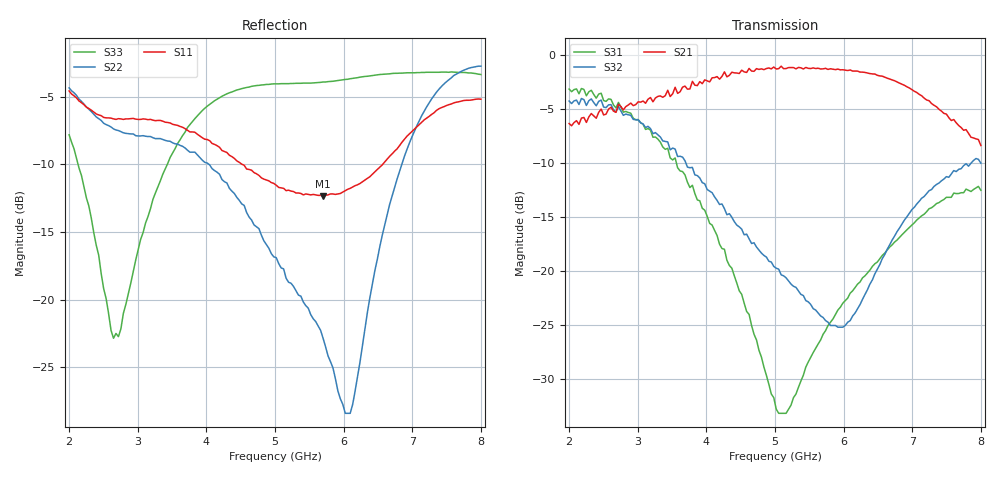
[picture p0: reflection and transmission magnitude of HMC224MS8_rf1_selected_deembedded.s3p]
!Hittite Microwave Corporation
!12 Elizabeth Drive
!Chelmsford, MA 01824
!Tel: 978-250-3343
!Fax: 978-250-3373
!Device: HMC224MS8, 5-6 GHz GaAs MMIC SPDT Switch in 8 lead plastic surface mount Mini Small Outline Package
!Misc: Port 1 = RFC, Port 2 = RF1, Port 3 =RF2, RF1 Selected, Vdd=+5V
# MHZ S MA R 50
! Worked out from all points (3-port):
!   168 points, 2 GHz to 8 GHz, reference 50 ohm
!   strongest paths, dB at 2 GHz, 3.509 GHz, 5.018 GHz, 6.527 GHz, 8 GHz:
!     S21: -6.4, -3.6, -1.3, -2.0, -8.4
!     S32: -4.3, -8.6, -19.7, -19.4, -10.0
!     S31: -3.2, -9.7, -32.8, -18.9, -12.5
!   lowest |S11| = -12.3 dB at 5.701 GHz (marker M1), VSWR 1.64, Z = 40.5 + j20.3 ohm
!   |S11| at or under -10 dB: 4.524 GHz to 6.568 GHz (2.044 GHz wide, 36.9 % of centre)
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2000  0.591 -148.5  0.469 59.1  0.683 20.4
      0.48 61.4  0.607 -129.2  0.601 29.7
      0.693 21.7  0.61 31.1  0.407 -127.6
2646.707  0.466 140.7  0.541 62.3  0.594 -7.3
          0.548 60.1  0.428 164.8  0.563 4.0
          0.585 -8.5  0.556 2.7  0.072 -121.5
3077.844  0.466 106.8  0.614 62.3  0.473 -21.3
          0.61 62.4  0.404 125.9  0.478 -8.9
          0.476 -22.6  0.478 -10.2  0.177 -99.4
3724.551  0.423 82.0  0.71 67.8  0.24 -44.2
          0.692 62.3  0.357 87.6  0.287 -29.5
          0.257 -42.1  0.302 -26.6  0.433 -154.2
4514.97  0.317 81.1  0.81 55.7  0.086 -35.5
         0.847 58.5  0.226 50.3  0.173 -26.4
         0.078 -37.9  0.156 -29.9  0.603 161.5
5017.964  0.265 90.6  0.861 52.4  0.024 14.3
          0.858 52.0  0.143 19.7  0.106 -26.4
          0.023 13.5  0.103 -25.4  0.628 139.8
5700.599  0.242 102.4  0.865 45.6  0.05 112.7
          0.859 46.1  0.072 -34.8  0.06 -47.2
          0.051 112.6  0.061 -47.9  0.638 106.2
6095.808  0.258 103.8  0.839 41.0  0.081 127.8
          0.849 41.3  0.038 -123.1  0.061 -94.0
          0.079 127.8  0.059 -93.9  0.656 86.8
6922.156  0.402 92.1  0.709 28.7  0.155 141.8
          0.71 28.8  0.359 135.9  0.178 -159.9
          0.155 142.2  0.178 -159.6  0.69 62.2
8000  0.551 69.6  0.414 27.2  0.251 130.6
      0.38 26.3  0.73 88.7  0.348 162.3
      0.236 131.1  0.315 166.3  0.68 53.9
